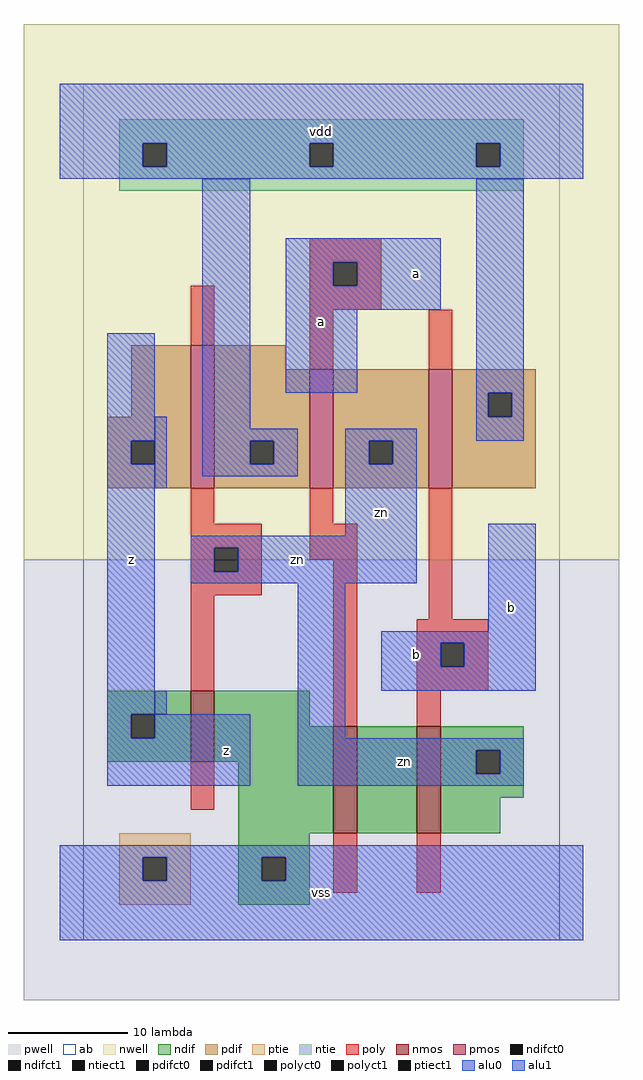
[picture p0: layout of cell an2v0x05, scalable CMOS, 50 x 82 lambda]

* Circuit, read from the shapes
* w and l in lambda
.subckt an2v0x05 a b vdd vss z zn
M1 vss zn z vss nfet w=6 l=2
M2 n1 a vss vss nfet w=9 l=2
M3 zn b n1 vss nfet w=9 l=2
M4 vdd zn z vdd pfet w=12 l=2
M5 zn a vdd vdd pfet w=10 l=2
M6 vdd b zn vdd pfet w=10 l=2
.ends

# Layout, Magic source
magic
tech scmos
<< ab >>
rect 0 0 40 72
<< nwell >>
rect -5 32 45 77
<< pwell >>
rect -5 -5 45 32
<< poly >>
rect 19 57 25 59
rect 19 55 21 57
rect 23 55 25 57
rect 9 50 11 55
rect 19 53 25 55
rect 19 48 21 53
rect 29 48 31 53
rect 9 35 11 38
rect 19 35 21 38
rect 9 33 15 35
rect 9 31 11 33
rect 13 31 15 33
rect 19 32 23 35
rect 9 29 15 31
rect 9 21 11 29
rect 21 18 23 32
rect 29 27 31 38
rect 28 25 34 27
rect 28 23 30 25
rect 32 23 34 25
rect 28 21 34 23
rect 28 18 30 21
rect 9 11 11 15
rect 21 4 23 9
rect 28 4 30 9
<< ndif >>
rect 2 19 9 21
rect 2 17 4 19
rect 6 17 9 19
rect 2 15 9 17
rect 11 18 19 21
rect 11 15 21 18
rect 13 9 21 15
rect 23 9 28 18
rect 30 16 37 18
rect 30 14 33 16
rect 35 14 37 16
rect 30 12 37 14
rect 30 9 35 12
rect 13 7 19 9
rect 13 5 15 7
rect 17 5 19 7
rect 13 3 19 5
<< pdif >>
rect 4 44 9 50
rect 2 42 9 44
rect 2 40 4 42
rect 6 40 9 42
rect 2 38 9 40
rect 11 48 17 50
rect 11 42 19 48
rect 11 40 14 42
rect 16 40 19 42
rect 11 38 19 40
rect 21 42 29 48
rect 21 40 24 42
rect 26 40 29 42
rect 21 38 29 40
rect 31 46 38 48
rect 31 44 34 46
rect 36 44 38 46
rect 31 38 38 44
<< alu1 >>
rect -2 67 42 72
rect -2 65 5 67
rect 7 65 19 67
rect 21 65 33 67
rect 35 65 42 67
rect -2 64 42 65
rect 2 42 6 51
rect 2 40 4 42
rect 2 19 6 40
rect 17 57 30 59
rect 17 55 21 57
rect 23 55 30 57
rect 17 53 30 55
rect 17 46 23 53
rect 2 17 4 19
rect 6 17 14 19
rect 2 13 14 17
rect 34 26 38 35
rect 25 25 38 26
rect 25 23 30 25
rect 32 23 38 25
rect 25 21 38 23
rect -2 7 42 8
rect -2 5 5 7
rect 7 5 15 7
rect 17 5 42 7
rect -2 0 42 5
<< ptie >>
rect 3 7 9 9
rect 3 5 5 7
rect 7 5 9 7
rect 3 3 9 5
<< ntie >>
rect 3 67 37 69
rect 3 65 5 67
rect 7 65 19 67
rect 21 65 33 67
rect 35 65 37 67
rect 3 63 37 65
<< nmos >>
rect 9 15 11 21
rect 21 9 23 18
rect 28 9 30 18
<< pmos >>
rect 9 38 11 50
rect 19 38 21 48
rect 29 38 31 48
<< polyct0 >>
rect 11 31 13 33
<< polyct1 >>
rect 21 55 23 57
rect 30 23 32 25
<< ndifct0 >>
rect 33 14 35 16
<< ndifct1 >>
rect 4 17 6 19
rect 15 5 17 7
<< ntiect1 >>
rect 5 65 7 67
rect 19 65 21 67
rect 33 65 35 67
<< ptiect1 >>
rect 5 5 7 7
<< pdifct0 >>
rect 14 40 16 42
rect 24 40 26 42
rect 34 44 36 46
<< pdifct1 >>
rect 4 40 6 42
<< alu0 >>
rect 6 38 7 44
rect 10 43 14 64
rect 33 46 37 64
rect 33 44 34 46
rect 36 44 37 46
rect 10 42 18 43
rect 10 40 14 42
rect 16 40 18 42
rect 10 39 18 40
rect 22 42 28 43
rect 33 42 37 44
rect 22 40 24 42
rect 26 40 28 42
rect 22 34 28 40
rect 9 33 28 34
rect 9 31 11 33
rect 13 31 28 33
rect 9 30 28 31
rect 6 19 7 21
rect 18 17 22 30
rect 18 16 37 17
rect 18 14 33 16
rect 35 14 37 16
rect 18 13 37 14
<< labels >>
rlabel alu0 27 15 27 15 6 zn
rlabel alu0 25 36 25 36 6 zn
rlabel alu0 18 32 18 32 6 zn
rlabel alu1 4 32 4 32 6 z
rlabel alu1 12 16 12 16 6 z
rlabel alu1 20 4 20 4 6 vss
rlabel alu1 28 24 28 24 6 b
rlabel alu1 20 52 20 52 6 a
rlabel alu1 28 56 28 56 6 a
rlabel alu1 20 68 20 68 6 vdd
rlabel alu1 36 28 36 28 6 b
<< end >>
